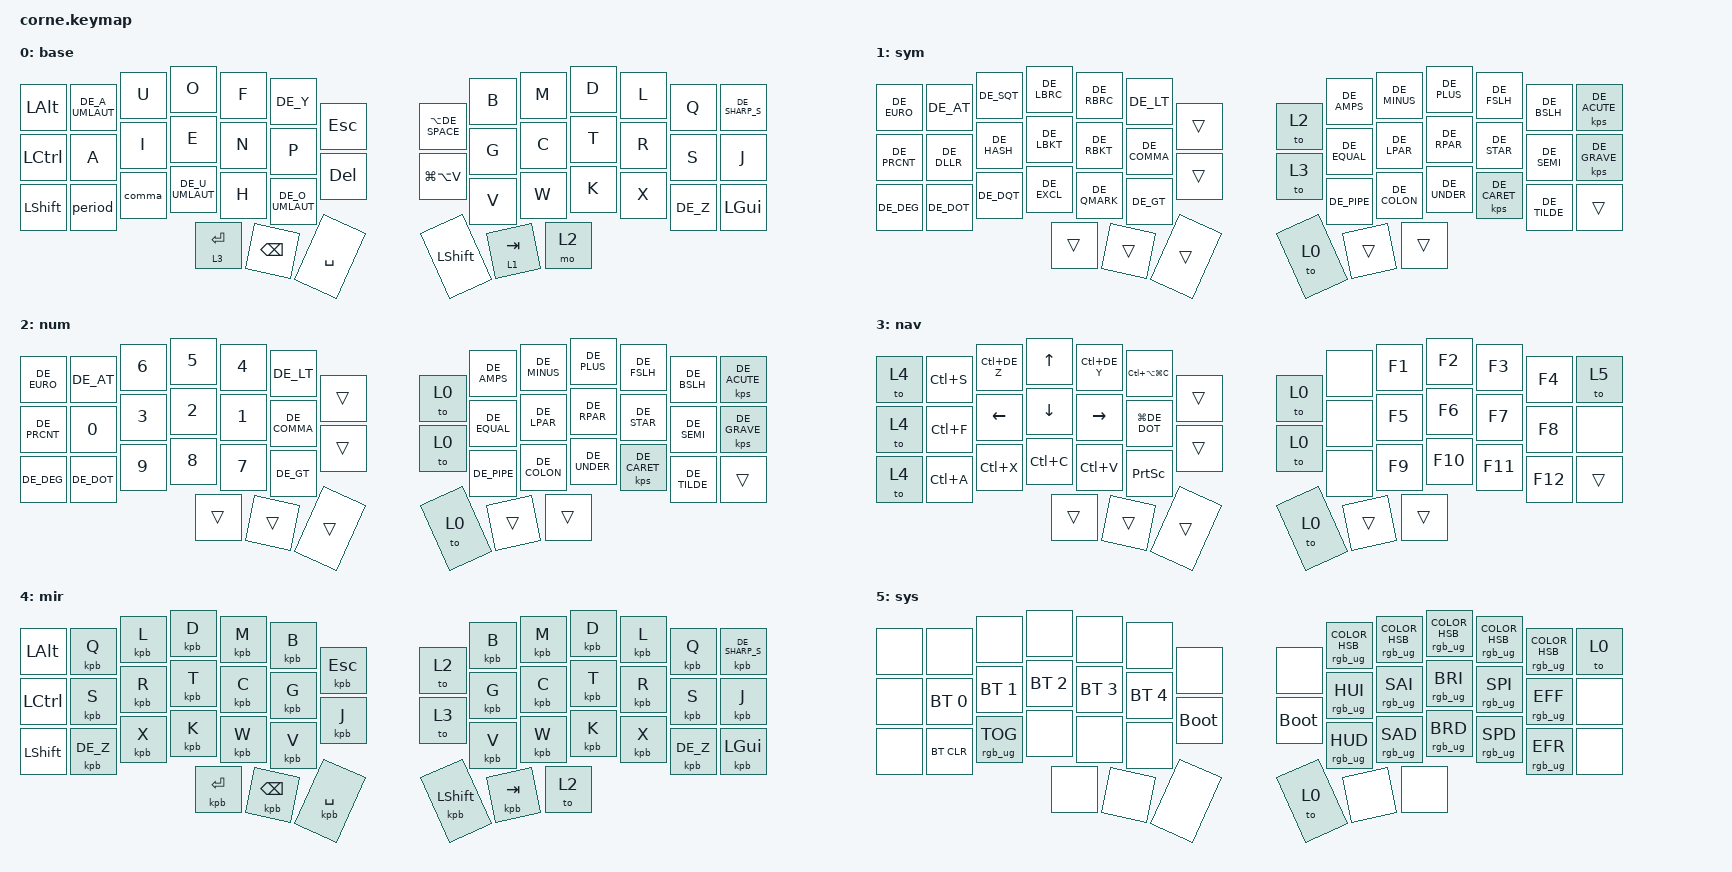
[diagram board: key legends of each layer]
#include <behaviors.dtsi>
#include <dt-bindings/zmk/bt.h>
#include <dt-bindings/zmk/keys.h>
#include <dt-bindings/zmk/rgb.h>

#ifndef KEYMAP_DRAWER

#include "keys_de.h"

#endif

&lt { flavor = "hold-preferred"; };

&mt { flavor = "hold-preferred"; };

/ {
    chosen { zmk,physical-layout = &default_layout; };
};

/ {
    macros {
        kpb: kpb {
            compatible = "zmk,behavior-macro-one-param";
            #binding-cells = <1>;
            bindings = <&macro_param_1to1 &kp MACRO_PLACEHOLDER &to 0>;
            label = "KPB";
        };

        kps: kps {
            compatible = "zmk,behavior-macro-one-param";
            #binding-cells = <1>;
            bindings = <&macro_param_1to1 &kp MACRO_PLACEHOLDER &kp SPACE>;
            label = "KPS";
        };
    };

    behaviors {
        comma: comma {
            compatible = "zmk,behavior-mod-morph";
            label = "COMMA";
            bindings = <&kp DE_COMMA>, <&kp DE_N2>;

            #binding-cells = <0>;
            mods = <(MOD_LSFT|MOD_RSFT)>;
            keep-mods = <(MOD_LSFT|MOD_RSFT)>;
        };

        period: period {
            compatible = "zmk,behavior-mod-morph";
            label = "PERIOD";
            bindings = <&kp DE_PERIOD>, <&kp BACKSLASH>;

            #binding-cells = <0>;
            mods = <(MOD_LSFT|MOD_RSFT)>;
            keep-mods = <(MOD_LSFT|MOD_RSFT)>;
        };
    };

    keymap {
        compatible = "zmk,keymap";

        base {
            bindings = <
&kp LEFT_ALT  &kp DE_A_UMLAUT  &kp U   &kp O            &kp F          &kp DE_Y         &kp ESC  &kp LA(DE_SPACE)  &kp B      &kp M      &kp D  &kp L  &kp Q     &kp DE_SHARP_S
&kp LCTRL     &kp A            &kp I   &kp E            &kp N          &kp P            &kp DEL  &kp LG(LA(V))     &kp G      &kp C      &kp T  &kp R  &kp S     &kp J
&kp LSHFT     &period          &comma  &kp DE_U_UMLAUT  &kp H          &kp DE_O_UMLAUT                             &kp V      &kp W      &kp K  &kp X  &kp DE_Z  &kp LGUI
                                       &lt 3 ENTER      &kp BACKSPACE  &kp SPACE                                   &kp LSHFT  &lt 1 TAB  &mo 2
            >;
        };

        sym {
            bindings = <
&kp DE_EURO   &kp DE_AT    &kp DE_SQT   &kp DE_LBRC  &kp DE_RBRC   &kp DE_LT     &trans  &to 2  &kp DE_AMPS   &kp DE_MINUS  &kp DE_PLUS   &kp DE_FSLH    &kp DE_BSLH   &kps DE_ACUTE
&kp DE_PRCNT  &kp DE_DLLR  &kp DE_HASH  &kp DE_LBKT  &kp DE_RBKT   &kp DE_COMMA  &trans  &to 3  &kp DE_EQUAL  &kp DE_LPAR   &kp DE_RPAR   &kp DE_STAR    &kp DE_SEMI   &kps DE_GRAVE
&kp DE_DEG    &kp DE_DOT   &kp DE_DQT   &kp DE_EXCL  &kp DE_QMARK  &kp DE_GT                    &kp DE_PIPE   &kp DE_COLON  &kp DE_UNDER  &kps DE_CARET  &kp DE_TILDE  &trans
                                        &trans       &trans        &trans                       &to 0         &trans        &trans
            >;
        };

        num {
            bindings = <
&kp DE_EURO   &kp DE_AT   &kp N6  &kp N5  &kp N4  &kp DE_LT     &trans  &to 0  &kp DE_AMPS   &kp DE_MINUS  &kp DE_PLUS   &kp DE_FSLH    &kp DE_BSLH   &kps DE_ACUTE
&kp DE_PRCNT  &kp N0      &kp N3  &kp N2  &kp N1  &kp DE_COMMA  &trans  &to 0  &kp DE_EQUAL  &kp DE_LPAR   &kp DE_RPAR   &kp DE_STAR    &kp DE_SEMI   &kps DE_GRAVE
&kp DE_DEG    &kp DE_DOT  &kp N9  &kp N8  &kp N7  &kp DE_GT                    &kp DE_PIPE   &kp DE_COLON  &kp DE_UNDER  &kps DE_CARET  &kp DE_TILDE  &trans
                                  &trans  &trans  &trans                       &to 0         &trans        &trans
            >;
        };

        nav {
            bindings = <
&to 4  &kp LC(S)  &kp LC(DE_Z)  &kp UP     &kp LC(DE_Y)  &kp LC(LA(LG(C)))  &trans  &to 0  &none  &kp F1  &kp F2   &kp F3   &kp F4   &to 5
&to 4  &kp LC(F)  &kp LEFT      &kp DOWN   &kp RIGHT     &kp LG(DE_DOT)     &trans  &to 0  &none  &kp F5  &kp F6   &kp F7   &kp F8   &none
&to 4  &kp LC(A)  &kp LC(X)     &kp LC(C)  &kp LC(V)     &kp PRINTSCREEN                   &none  &kp F9  &kp F10  &kp F11  &kp F12  &trans
                                &trans     &trans        &trans                            &to 0  &trans  &trans
            >;
        };

        mir {
            bindings = <
&kp LEFT_ALT  &kpb Q     &kpb L  &kpb D      &kpb M          &kpb B      &kpb ESC  &to 2  &kpb B      &kpb M    &kpb D  &kpb L  &kpb Q     &kpb DE_SHARP_S
&kp LCTRL     &kpb S     &kpb R  &kpb T      &kpb C          &kpb G      &kpb J    &to 3  &kpb G      &kpb C    &kpb T  &kpb R  &kpb S     &kpb J
&kp LSHFT     &kpb DE_Z  &kpb X  &kpb K      &kpb W          &kpb V                       &kpb V      &kpb W    &kpb K  &kpb X  &kpb DE_Z  &kpb LGUI
                                 &kpb ENTER  &kpb BACKSPACE  &kpb SPACE                   &kpb LSHFT  &kpb TAB  &to 2
            >;
        };

        sys {
            bindings = <
&none  &none         &none            &none         &none         &none         &none        &none        &rgb_ug RGB_COLOR_HSB(0,100,50)  &rgb_ug RGB_COLOR_HSB(126,100,50)  &rgb_ug RGB_COLOR_HSB(244,100,50)  &rgb_ug RGB_COLOR_HSB(309,100,50)  &rgb_ug RGB_COLOR_HSB(61,100,50)  &to 0
&none  &bt BT_SEL 0  &bt BT_SEL 1     &bt BT_SEL 2  &bt BT_SEL 3  &bt BT_SEL 4  &bootloader  &bootloader  &rgb_ug RGB_HUI                  &rgb_ug RGB_SAI                    &rgb_ug RGB_BRI                    &rgb_ug RGB_SPI                    &rgb_ug RGB_EFF                   &none
&none  &bt BT_CLR    &rgb_ug RGB_TOG  &none         &none         &none                                   &rgb_ug RGB_HUD                  &rgb_ug RGB_SAD                    &rgb_ug RGB_BRD                    &rgb_ug RGB_SPD                    &rgb_ug RGB_EFR                   &none
                                      &none         &none         &none                                   &to 0                            &none                              &none
            >;
        };
    };
};
